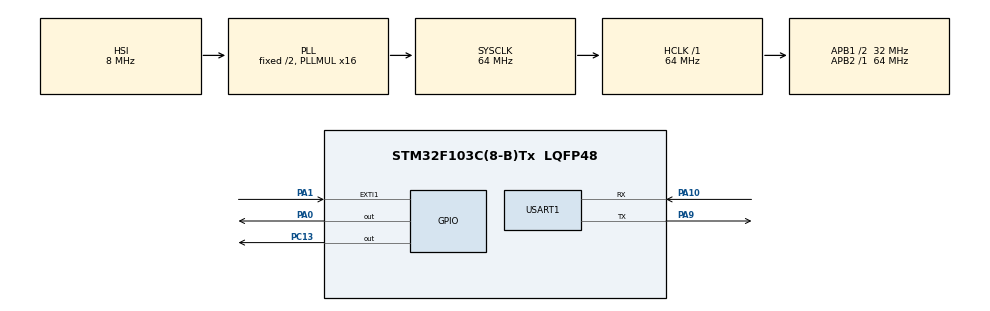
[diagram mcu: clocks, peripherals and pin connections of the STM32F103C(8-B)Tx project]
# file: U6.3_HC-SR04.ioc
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Mcu.Family=STM32F1
Mcu.Name=STM32F103C(8-B)Tx
Mcu.Package=LQFP48
NVIC.EXTI1_IRQn=true\:1\:0\:true\:false\:true\:true\:true
NVIC.PriorityGroup=NVIC_PRIORITYGROUP_4
PA0-WKUP.Signal=GPIO_Output
PA1.GPIO_ModeDefaultEXTI=GPIO_MODE_IT_RISING_FALLING
PA1.Signal=GPXTI1
PA10.Mode=Asynchronous
PA10.Signal=USART1_RX
PA13.Mode=Serial_Wire
PA13.Signal=SYS_JTMS-SWDIO
PA14.Mode=Serial_Wire
PA14.Signal=SYS_JTCK-SWCLK
PA9.Mode=Asynchronous
PA9.Signal=USART1_TX
PC13-TAMPER-RTC.Signal=GPIO_Output
ProjectManager.HeapSize=0x200
ProjectManager.StackSize=0x400
ProjectManager.TargetToolchain=STM32CubeIDE
RCC.AHBFreq_Value=64000000
RCC.APB1CLKDivider=RCC_HCLK_DIV2
RCC.APB1Freq_Value=32000000
RCC.APB1TimFreq_Value=64000000
RCC.APB2Freq_Value=64000000
RCC.APB2TimFreq_Value=64000000
RCC.HCLKFreq_Value=64000000
RCC.PLLMUL=RCC_PLL_MUL16
RCC.SYSCLKFreq_VALUE=64000000
RCC.SYSCLKSource=RCC_SYSCLKSOURCE_PLLCLK
RCC.USBFreq_Value=64000000
TIM1.Prescaler=63
USART1.VirtualMode=VM_ASYNC
VP_TIM1_VS_ClockSourceINT.Mode=Internal
board=custom

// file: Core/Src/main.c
/* USER CODE BEGIN Header */
/**
  ******************************************************************************
  * @file           : main.c
  * @brief          : Main program body
  ******************************************************************************
  * @attention
  *
  * Copyright (c) 2022 STMicroelectronics.
  * All rights reserved.
  *
  * This software is licensed under terms that can be found in the LICENSE file
  * in the root directory of this software component.
  * If no LICENSE file comes with this software, it is provided AS-IS.
  *
  ******************************************************************************
  */
/* USER CODE END Header */
#include "main.h"

TIM_HandleTypeDef htim1;

UART_HandleTypeDef huart1;

void SystemClock_Config(void);
static void MX_GPIO_Init(void);
static void MX_TIM1_Init(void);
static void MX_USART1_UART_Init(void);

/* USER CODE BEGIN 0 */

float distance = 0;

void delay_us(uint16_t us){
	htim1.Instance->CNT = 0;
	HAL_TIM_Base_Start(&htim1);
	while(htim1.Instance->CNT < us);
	HAL_TIM_Base_Stop(&htim1);
}

typedef enum{
	HCSR_IDLE_STATE,
	HCSR_WAIT_RISING_STATE,
	HCSR_WAIT_FALLING_STATE,
	HCSR_COMPLETE_STATE,
} HCSR;

HCSR hcsr_state = HCSR_IDLE_STATE;

void HCSR_Start(){
	if(hcsr_state == HCSR_IDLE_STATE){
		HAL_GPIO_WritePin(GPIOA, GPIO_PIN_0, GPIO_PIN_SET);
		HAL_Delay(1);
		HAL_GPIO_WritePin(GPIOA, GPIO_PIN_0, GPIO_PIN_RESET);
		hcsr_state = HCSR_WAIT_RISING_STATE;
	}
}

void HAL_GPIO_EXTI_Callback(uint16_t GPIO_Pin){
	if(hcsr_state == HCSR_WAIT_RISING_STATE){
		if(HAL_GPIO_ReadPin(GPIOA, GPIO_PIN_1) == 1){
			htim1.Instance->CNT = 0;
			hcsr_state = HCSR_WAIT_FALLING_STATE;
			HAL_TIM_Base_Start(&htim1);
		} else{
			hcsr_state = HCSR_IDLE_STATE;
		}
	} else if(hcsr_state == HCSR_WAIT_FALLING_STATE){
		if(HAL_GPIO_ReadPin(GPIOA, GPIO_PIN_1) == 0){
			HAL_TIM_Base_Stop(&htim1);
			hcsr_state = HCSR_COMPLETE_STATE;
		} else{
			hcsr_state = HCSR_IDLE_STATE;
		}
	}
}

void HCSR_Complete_Callback(float hcsr_distance){
	distance = hcsr_distance;
	uint8_t data[7] = {};
	sprintf(data, "%.2f\n", distance);
	HAL_UART_Transmit(&huart1, data, 7, 500);
}

void HCSR_Handle(){
	if(hcsr_state == HCSR_COMPLETE_STATE){
		float hcsr_distance = 0.017 * htim1.Instance->CNT;
		HCSR_Complete_Callback(hcsr_distance);
		hcsr_state = HCSR_IDLE_STATE;
	}
}

uint16_t get_value(){
	HAL_GPIO_WritePin(GPIOA, GPIO_PIN_0, GPIO_PIN_SET);
	delay_us(10);
	HAL_GPIO_WritePin(GPIOA, GPIO_PIN_0, GPIO_PIN_RESET);

	while(HAL_GPIO_ReadPin(GPIOA, GPIO_PIN_1) == 0);

	HAL_TIM_Base_Start(&htim1);
	while(1){
		if(HAL_GPIO_ReadPin(GPIOA, GPIO_PIN_1) == 0) {
			HAL_TIM_Base_Stop(&htim1);
			break;
		}
		if(htim1.Instance->CNT > 23600) {
			HAL_TIM_Base_Stop(&htim1);
			return 0;
		}
	}

	return 0.017 * htim1.Instance->CNT;

}

/* USER CODE END 0 */

int main(void)
{

  /* MCU Configuration--------------------------------------------------------*/

  /* Reset of all peripherals, Initializes the Flash interface and the Systick. */
  HAL_Init();

  /* Configure the system clock */
  SystemClock_Config();

  /* Initialize all configured peripherals */
  MX_GPIO_Init();
  MX_TIM1_Init();
  MX_USART1_UART_Init();
  /* USER CODE BEGIN 2 */
  uint32_t time_get_distance = 0;
  uint32_t time_uart_send = 0;
  /* USER CODE END 2 */

  /* Infinite loop */
  while (1)
  {

    /* USER CODE BEGIN 3 */
	  if(HAL_GetTick() - time_get_distance > 300){
		  HCSR_Start();
		  time_get_distance = HAL_GetTick();
	  }

//	  if(HAL_GetTick() - time_uart_send > 300){
//		  uint8_t data[7] = {};
//		  sprintf(data, "%.2f\n", distance);
//		  HAL_UART_Transmit(&huart1, data, 7, 500);
//		  time_uart_send = HAL_GetTick();
//	  }

	  HCSR_Handle();

  }
  /* USER CODE END 3 */
}

void SystemClock_Config(void)
{
  RCC_OscInitTypeDef RCC_OscInitStruct = {0};
  RCC_ClkInitTypeDef RCC_ClkInitStruct = {0};

  /** Initializes the RCC Oscillators according to the specified parameters
  * in the RCC_OscInitTypeDef structure.
  */
  RCC_OscInitStruct.OscillatorType = RCC_OSCILLATORTYPE_HSI;
  RCC_OscInitStruct.HSIState = RCC_HSI_ON;
  RCC_OscInitStruct.HSICalibrationValue = RCC_HSICALIBRATION_DEFAULT;
  RCC_OscInitStruct.PLL.PLLState = RCC_PLL_ON;
  RCC_OscInitStruct.PLL.PLLSource = RCC_PLLSOURCE_HSI_DIV2;
  RCC_OscInitStruct.PLL.PLLMUL = RCC_PLL_MUL16;
  if (HAL_RCC_OscConfig(&RCC_OscInitStruct) != HAL_OK)
  {
    Error_Handler();
  }
  /** Initializes the CPU, AHB and APB buses clocks
  */
  RCC_ClkInitStruct.ClockType = RCC_CLOCKTYPE_HCLK|RCC_CLOCKTYPE_SYSCLK
                              |RCC_CLOCKTYPE_PCLK1|RCC_CLOCKTYPE_PCLK2;
  RCC_ClkInitStruct.SYSCLKSource = RCC_SYSCLKSOURCE_PLLCLK;
  RCC_ClkInitStruct.AHBCLKDivider = RCC_SYSCLK_DIV1;
  RCC_ClkInitStruct.APB1CLKDivider = RCC_HCLK_DIV2;
  RCC_ClkInitStruct.APB2CLKDivider = RCC_HCLK_DIV1;

  if (HAL_RCC_ClockConfig(&RCC_ClkInitStruct, FLASH_LATENCY_2) != HAL_OK)
  {
    Error_Handler();
  }
}

static void MX_TIM1_Init(void)
{

  TIM_ClockConfigTypeDef sClockSourceConfig = {0};
  TIM_MasterConfigTypeDef sMasterConfig = {0};

  htim1.Instance = TIM1;
  htim1.Init.Prescaler = 63;
  htim1.Init.CounterMode = TIM_COUNTERMODE_UP;
  htim1.Init.Period = 65535;
  htim1.Init.ClockDivision = TIM_CLOCKDIVISION_DIV1;
  htim1.Init.RepetitionCounter = 0;
  htim1.Init.AutoReloadPreload = TIM_AUTORELOAD_PRELOAD_DISABLE;
  if (HAL_TIM_Base_Init(&htim1) != HAL_OK)
  {
    Error_Handler();
  }
  sClockSourceConfig.ClockSource = TIM_CLOCKSOURCE_INTERNAL;
  if (HAL_TIM_ConfigClockSource(&htim1, &sClockSourceConfig) != HAL_OK)
  {
    Error_Handler();
  }
  sMasterConfig.MasterOutputTrigger = TIM_TRGO_RESET;
  sMasterConfig.MasterSlaveMode = TIM_MASTERSLAVEMODE_DISABLE;
  if (HAL_TIMEx_MasterConfigSynchronization(&htim1, &sMasterConfig) != HAL_OK)
  {
    Error_Handler();
  }

}

static void MX_USART1_UART_Init(void)
{

  huart1.Instance = USART1;
  huart1.Init.BaudRate = 115200;
  huart1.Init.WordLength = UART_WORDLENGTH_8B;
  huart1.Init.StopBits = UART_STOPBITS_1;
  huart1.Init.Parity = UART_PARITY_NONE;
  huart1.Init.Mode = UART_MODE_TX_RX;
  huart1.Init.HwFlowCtl = UART_HWCONTROL_NONE;
  huart1.Init.OverSampling = UART_OVERSAMPLING_16;
  if (HAL_UART_Init(&huart1) != HAL_OK)
  {
    Error_Handler();
  }

}

static void MX_GPIO_Init(void)
{
  GPIO_InitTypeDef GPIO_InitStruct = {0};

  /* GPIO Ports Clock Enable */
  __HAL_RCC_GPIOC_CLK_ENABLE();
  __HAL_RCC_GPIOA_CLK_ENABLE();

  /*Configure GPIO pin Output Level */
  HAL_GPIO_WritePin(GPIOC, GPIO_PIN_13, GPIO_PIN_RESET);

  /*Configure GPIO pin Output Level */
  HAL_GPIO_WritePin(GPIOA, GPIO_PIN_0, GPIO_PIN_RESET);

  /*Configure GPIO pin : PC13 */
  GPIO_InitStruct.Pin = GPIO_PIN_13;
  GPIO_InitStruct.Mode = GPIO_MODE_OUTPUT_PP;
  GPIO_InitStruct.Pull = GPIO_NOPULL;
  GPIO_InitStruct.Speed = GPIO_SPEED_FREQ_LOW;
  HAL_GPIO_Init(GPIOC, &GPIO_InitStruct);

  /*Configure GPIO pin : PA0 */
  GPIO_InitStruct.Pin = GPIO_PIN_0;
  GPIO_InitStruct.Mode = GPIO_MODE_OUTPUT_PP;
  GPIO_InitStruct.Pull = GPIO_NOPULL;
  GPIO_InitStruct.Speed = GPIO_SPEED_FREQ_LOW;
  HAL_GPIO_Init(GPIOA, &GPIO_InitStruct);

  /*Configure GPIO pin : PA1 */
  GPIO_InitStruct.Pin = GPIO_PIN_1;
  GPIO_InitStruct.Mode = GPIO_MODE_IT_RISING_FALLING;
  GPIO_InitStruct.Pull = GPIO_NOPULL;
  HAL_GPIO_Init(GPIOA, &GPIO_InitStruct);

  /* EXTI interrupt init*/
  HAL_NVIC_SetPriority(EXTI1_IRQn, 1, 0);
  HAL_NVIC_EnableIRQ(EXTI1_IRQn);

}

void Error_Handler(void)
{
  __disable_irq();
  while (1)
  {
  }
}
